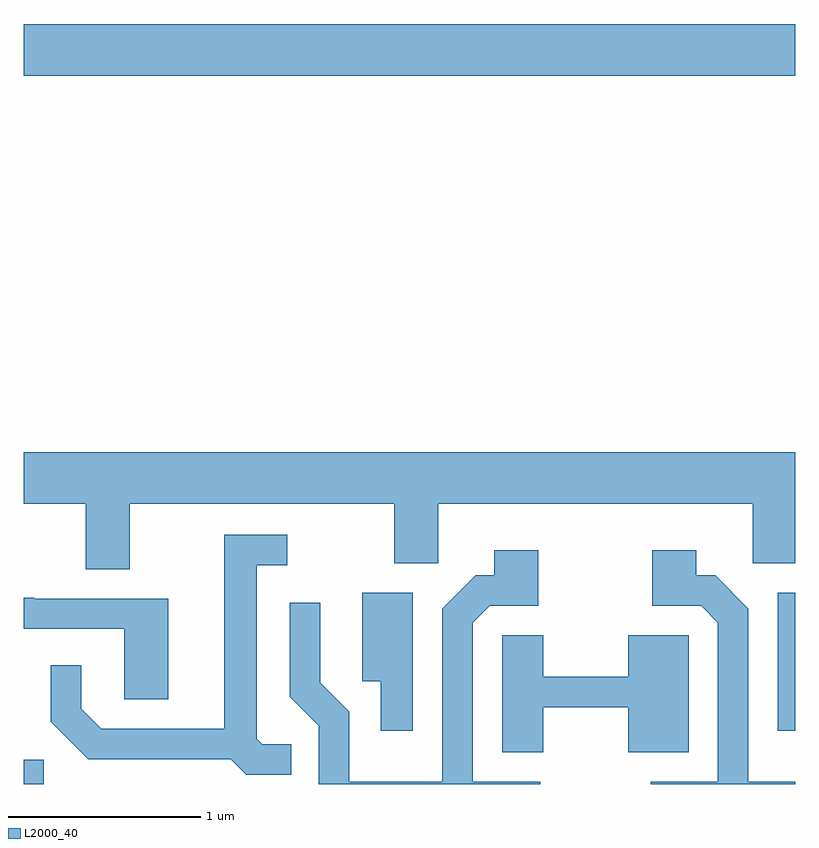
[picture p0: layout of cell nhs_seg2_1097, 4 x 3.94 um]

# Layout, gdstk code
import gdstk
lib = gdstk.Library(unit=1e-6, precision=1e-09)
def R(c, l, rs):  # rectangles x0, y0, x1, y1
    for r in rs: c.add(gdstk.rectangle(r[:2], r[2:], *l))
def P(c, l, *ps):  # polygons
    for p in ps: c.add(gdstk.Polygon(p, *l))
L2000_40 = (2000, 40)

nhs_seg2_1097 = lib.new_cell('nhs_seg2_1097')
R(nhs_seg2_1097, L2000_40, [(217.611,995.802,217.713,995.929), (221.521,996.078,221.611,996.794), (217.611,999.476,221.611,999.744)])
P(nhs_seg2_1097, L2000_40, [(218.159,997.256),(219.531,997.256),(219.531,996.946),(219.759,996.946),(219.759,997.256),(221.391,997.256),(221.391,996.946),(221.611,996.946),(221.611,997.524),(217.611,997.524),(217.611,997.256),(217.931,997.256),(217.931,996.916),(218.159,996.916)],
  [(218.998,996.009),(218.847,996.009),(218.819,996.037),(218.819,996.936),(218.978,996.936),(218.978,997.094),(218.651,997.094),(218.651,996.089),(218.012,996.089),(217.909,996.192),(217.909,996.418),(217.751,996.418),(217.751,996.124),(217.944,995.931),(218.684,995.931),(218.764,995.851),(218.998,995.851)],
  [(221.611,995.814),(221.369,995.814),(221.369,996.712),(221.197,996.884),(221.099,996.884),(221.099,997.014),(220.871,997.014),(220.871,996.726),(221.124,996.726),(221.211,996.639),(221.211,995.814),(220.863,995.814),(220.863,995.802),(221.611,995.802)],
  [(220.288,995.814),(219.939,995.814),(219.939,996.639),(220.027,996.726),(220.279,996.726),(220.279,997.014),(220.051,997.014),(220.051,996.884),(219.954,996.884),(219.781,996.712),(219.781,995.814),(219.299,995.814),(219.299,996.177),(219.149,996.327),(219.149,996.743),(218.991,996.743),(218.991,996.254),(219.141,996.104),(219.141,995.802),(220.288,995.802)],
  [(219.629,996.794),(219.366,996.794),(219.366,996.336),(219.461,996.336),(219.461,996.078),(219.629,996.078)],
  [(218.359,996.764),(217.665,996.764),(217.665,996.769),(217.611,996.769),(217.611,996.606),(218.131,996.606),(218.131,996.241),(218.359,996.241)],
  [(220.304,996.201),(220.746,996.201),(220.746,995.966),(221.059,995.966),(221.059,996.574),(220.746,996.574),(220.746,996.359),(220.304,996.359),(220.304,996.574),(220.091,996.574),(220.091,995.966),(220.304,995.966)])

lib.write_gds('nhs_seg2_1097.gds')
